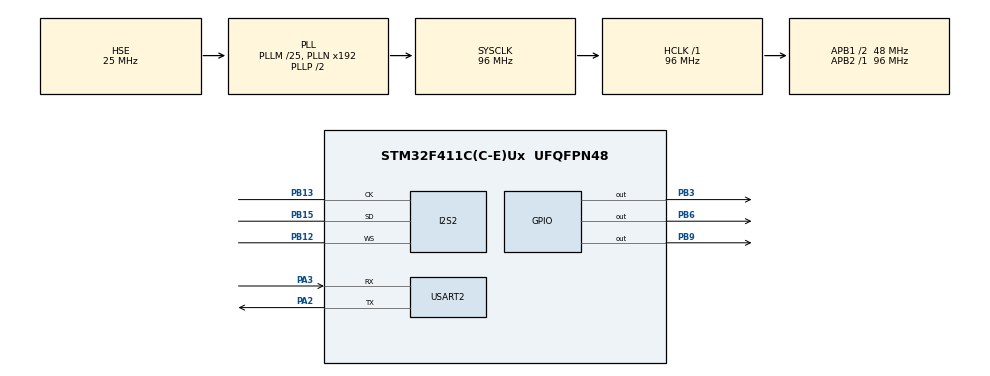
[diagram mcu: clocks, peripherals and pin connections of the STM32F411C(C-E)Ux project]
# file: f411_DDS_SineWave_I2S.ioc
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Dma.Request0=SPI2_TX
Dma.SPI2_TX.0.Direction=DMA_MEMORY_TO_PERIPH
Dma.SPI2_TX.0.FIFOMode=DMA_FIFOMODE_ENABLE
Dma.SPI2_TX.0.FIFOThreshold=DMA_FIFO_THRESHOLD_FULL
Dma.SPI2_TX.0.Instance=DMA1_Stream4
Dma.SPI2_TX.0.MemBurst=DMA_MBURST_SINGLE
Dma.SPI2_TX.0.MemDataAlignment=DMA_MDATAALIGN_HALFWORD
Dma.SPI2_TX.0.MemInc=DMA_MINC_ENABLE
Dma.SPI2_TX.0.Mode=DMA_CIRCULAR
Dma.SPI2_TX.0.PeriphBurst=DMA_PBURST_SINGLE
Dma.SPI2_TX.0.PeriphDataAlignment=DMA_PDATAALIGN_HALFWORD
Dma.SPI2_TX.0.PeriphInc=DMA_PINC_DISABLE
Dma.SPI2_TX.0.Priority=DMA_PRIORITY_LOW
I2S2.AudioFreq=I2S_AUDIOFREQ_48K
I2S2.DataFormat=I2S_DATAFORMAT_24B
I2S2.ErrorAudioFreq=0.8 %
I2S2.FullDuplexMode=I2S_FULLDUPLEXMODE_DISABLE
I2S2.Instance=SPI$Index
I2S2.RealAudioFreq=48.387 KHz
I2S2.VirtualMode=I2S_MODE_MASTER
Mcu.Family=STM32F4
Mcu.Name=STM32F411C(C-E)Ux
Mcu.Package=UFQFPN48
NVIC.DMA1_Stream4_IRQn=true\:0\:0\:false\:false\:true\:false\:true
NVIC.PriorityGroup=NVIC_PRIORITYGROUP_4
PA13.Mode=Serial_Wire
PA13.Signal=SYS_JTMS-SWDIO
PA14.Mode=Serial_Wire
PA14.Signal=SYS_JTCK-SWCLK
PA2.Mode=Asynchronous
PA2.Signal=USART2_TX
PA3.Mode=Asynchronous
PA3.Signal=USART2_RX
PB12.Mode=Half_Duplex_Master
PB12.Signal=I2S2_WS
PB13.Mode=Half_Duplex_Master
PB13.Signal=I2S2_CK
PB15.Mode=Half_Duplex_Master
PB15.Signal=I2S2_SD
PB3.PinState=GPIO_PIN_SET
PB3.Signal=GPIO_Output
PB6.PinState=GPIO_PIN_SET
PB6.Signal=GPIO_Output
PB9.Signal=GPIO_Output
PH0\ -\ OSC_IN.Mode=HSE-External-Oscillator
PH0\ -\ OSC_IN.Signal=RCC_OSC_IN
PH1\ -\ OSC_OUT.Mode=HSE-External-Oscillator
PH1\ -\ OSC_OUT.Signal=RCC_OSC_OUT
ProjectManager.HeapSize=0x200
ProjectManager.StackSize=0x400
ProjectManager.TargetToolchain=STM32CubeIDE
RCC.48MHZClocksFreq_Value=48000000
RCC.AHBFreq_Value=96000000
RCC.APB1CLKDivider=RCC_HCLK_DIV2
RCC.APB1Freq_Value=48000000
RCC.APB1TimFreq_Value=96000000
RCC.APB2Freq_Value=96000000
RCC.APB2TimFreq_Value=96000000
RCC.CortexFreq_Value=96000000
RCC.HCLKFreq_Value=96000000
RCC.HSE_VALUE=25000000
RCC.HSI_VALUE=16000000
RCC.LSE_VALUE=32768
RCC.PLLI2SM=25
RCC.PLLM=25
RCC.PLLSourceVirtual=RCC_PLLSOURCE_HSE
RCC.SYSCLKFreq_VALUE=96000000
RCC.SYSCLKSource=RCC_SYSCLKSOURCE_PLLCLK
RCC.VCOOutputFreq_Value=192000000
USART2.VirtualMode=VM_ASYNC
board=custom

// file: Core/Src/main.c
/* USER CODE BEGIN Header */
/**
  ******************************************************************************
  * @file           : main.c
  * @brief          : Main program body
  ******************************************************************************
  * @attention
  *
  * <h2><center>&copy; Copyright (c) 2021 STMicroelectronics.
  * All rights reserved.</center></h2>
  *
  * This software component is licensed by ST under BSD 3-Clause license,
  * the "License"; You may not use this file except in compliance with the
  * License. You may obtain a copy of the License at:
  *                        opensource.org/licenses/BSD-3-Clause
  *
  ******************************************************************************
  */
/* USER CODE END Header */
#include "main.h"

/* USER CODE BEGIN Includes */
#include <math.h>
#include <stdio.h>
#include <stdarg.h>
#include <string.h>
/* USER CODE END Includes */

I2S_HandleTypeDef hi2s2;
DMA_HandleTypeDef hdma_spi2_tx;

UART_HandleTypeDef huart2;

void SystemClock_Config(void);
static void MX_GPIO_Init(void);
static void MX_DMA_Init(void);
static void MX_I2S2_Init(void);
static void MX_USART2_UART_Init(void);

/* USER CODE BEGIN 0 */

///////////////////////////////////////////////////////////////////////////////
//
// Direct Digital Synthesis of I2S periodic waveform (24bit resolution @ Fs = 48KHz)
// Stereo L and R channels can have different frequencies
// In this example, the left channel generates a 440.0Hz (musical 'A' note) sine wave
// with a harmonic at 880Hz.
// The right channel generates a 440.5Hz note with harmonic at 881Hz.
// When both channels are played back through speakers or if you sum the channels
// before playback (MAX98357 default configuration), you will hear a beat note at
// 0.5Hz, demonstrating the resolution capability of DDS.
//
// User configurable inputs are :
// Fundamental frequency L channel = L_WAVE_FREQ_HZ
// Fundamental frequency R channel = R_WAVE_FREQ_HZ
// Fundamental amplitude = VOLUME
//
// Implemented on WeAct STM32F411CEU6 Black Pill dev board. Will also
// work with trivial mods on the cheaper STM32F401CCU6 Black Pill board.
//
// credits : https://github.com/dimtass/stm32f407_dds_dac,
//           https://www.youtube.com/watch?v=YDC5zaEZGhM
//           https://github.com/YetAnotherElectronicsChannel/STM32_PDM_Microphone

#define L_WAVE_FREQ_HZ 	    440.0f
#define R_WAVE_FREQ_HZ      440.5f
#define VOLUME              0.25f // Range [0.1 - 0.5]

//
///////////////////////////////////////////////////////////////////////////////

#define _2PI                6.283185307f
#define _PI                 3.14159265f

#define FS_HZ               48000.0f

#define WAVE_TABLE_SIZE     2048

// convert float to 24bit 2's complement
#define FLOAT_2_24BITS(fval)  	( (fval) * (((int32_t)1) << 23) )

// 24bit 2's complement sine wave table
int32_t WaveTable[WAVE_TABLE_SIZE + 1];	// +1 for interpolation

// 16.16 resolution fixed point format for phase increment and accumulator
#define FLOAT_2_FIXED16(fval)  	( (fval) * (((uint32_t)1) << 16) )

#define MAX_PHASE_ACCUM (((uint32_t)WAVE_TABLE_SIZE) << 16)

// stereo L and R channels with different frequencies
uint32_t LPhaseAccumulator = 0;
uint32_t LPhaseIncrement;

uint32_t RPhaseAccumulator = 0;
uint32_t RPhaseIncrement;

#define TXBUF_SIZE 	512
// TxBuf contains stereo L, R 24bit samples encoded in 32bits as
// two uint16_ts [16msb,8lsb:0]
// A stereo sample requires 4 uint16_ts, so TxBuf[512]
// contains 128 stereo 24bit samples
uint16_t TxBuf[TXBUF_SIZE];

enum DmaState {DMA_IN_PROGRESS, DMA_HALF_COMPLETE, DMA_COMPLETE};
enum DmaState TxState = DMA_IN_PROGRESS;

#define TOGGLE_RED_LED() HAL_GPIO_TogglePin(GPIOB, GPIO_PIN_3);
#define TOGGLE_GRN_LED() HAL_GPIO_TogglePin(GPIOB, GPIO_PIN_6);

#define BLU_LED_ON()  HAL_GPIO_WritePin(GPIOB, GPIO_PIN_9, GPIO_PIN_RESET);
#define BLU_LED_OFF()  HAL_GPIO_WritePin(GPIOB, GPIO_PIN_9, GPIO_PIN_SET);

void wave_table_init(void);
void dds_calculate(uint16_t* buffer, int num_samples);
void i2s_clock_config();
HAL_StatusTypeDef i2s_config_PR(uint32_t regVal);
void print_msg(char* format, ...);

// dma completion state

void HAL_I2S_TxHalfCpltCallback (I2S_HandleTypeDef *hi2s) {
	TxState = DMA_HALF_COMPLETE;
	}

void HAL_I2S_TxCpltCallback (I2S_HandleTypeDef *hi2s) {
	TxState = DMA_COMPLETE;
	}

void wave_table_init(void){
	// table[k] = sin(2*pi*k/N)
	for(int inx = 0; inx < WAVE_TABLE_SIZE; inx++) {
		// fundamental plus harmonic
		float wave = VOLUME * sinf(_2PI * ((float)inx/(float)WAVE_TABLE_SIZE) ) +
					(VOLUME/4) * sinf(_2PI * ((float)(2*inx)/(float)WAVE_TABLE_SIZE) );
		WaveTable[inx] = FLOAT_2_24BITS(wave);
		}
	// Used for interpolating when integer part of PhaseAccumulator == WAVE_TABLE_SIZE-1
	WaveTable[WAVE_TABLE_SIZE] = WaveTable[0];
	}

void dds_calculate(uint16_t* buffer, int numSamples) {
	// @ Fs = 48000Hz, it takes 64/48000 = 1.333mS to transmit 64 stereo samples
	// The DDS buffer generation needs to execute in less than this time.
	// Running at 96MHz the STM32F411CEU6 completes in 0.135mS with interpolation
	BLU_LED_OFF(); // check pulse strobe width on logic analyzer/scope for execution time
	uint32_t tableIndex,fractional,uwave24;
	int32_t v1,v2,swave24;
	for(int inx = 0; inx < numSamples; inx++) {
		// L channel
		LPhaseAccumulator += LPhaseIncrement;
		while (LPhaseAccumulator >= MAX_PHASE_ACCUM) LPhaseAccumulator -= MAX_PHASE_ACCUM;
		tableIndex = (LPhaseAccumulator >> 16); // integer portion of LPhaseAccumulator
		// swave24 = WaveTable[tableIndex]; // without interpolation
		// with interpolation
		v1 = WaveTable[tableIndex]; // nearest neighbours
		v2 = WaveTable[tableIndex+1];
		fractional = LPhaseAccumulator & 65535;
		swave24 = v1 + ((v2-v1)*(int32_t)fractional)/65536; // linear interpolation
		uwave24 =  (uint32_t) swave24;
		 // I2S data format : 24bit 2's complement left-justified in a 32bit frame
		buffer[4*inx]   = (uint16_t)((uwave24 >> 8) & 0x0000FFFF);
		buffer[4*inx+1] = (uint16_t)((uwave24 & 0x000000FF) << 8);

		// R channel
		RPhaseAccumulator += RPhaseIncrement;
		while (RPhaseAccumulator >= MAX_PHASE_ACCUM) RPhaseAccumulator -= MAX_PHASE_ACCUM;
		tableIndex = (RPhaseAccumulator >> 16); // integer portion of RPhaseAccumulator
		// swave24 = WaveTable[tableIndex]; // without interpolation
		// with interpolation
		v1 = WaveTable[tableIndex]; // nearest neighbours
		v2 = WaveTable[tableIndex+1];
		fractional = RPhaseAccumulator & 65535;
		swave24 = v1 + ((v2-v1)*(int32_t)fractional)/65536; // linear interpolation
		uwave24 =  (uint32_t) swave24;
		 // I2S data format : 24bit 2's complement left-justified in a 32bit frame
		buffer[4*inx+2] = (uint16_t)((uwave24 >> 8) & 0x0000FFFF);
		buffer[4*inx+3] = (uint16_t)((uwave24 & 0x000000FF) << 8);
		}
	BLU_LED_ON();
	}

/* USER CODE END 0 */

int main(void)
{

  /* MCU Configuration--------------------------------------------------------*/

  /* Reset of all peripherals, Initializes the Flash interface and the Systick. */
  HAL_Init();

  /* Configure the system clock */
  SystemClock_Config();

  /* Initialize all configured peripherals */
  MX_GPIO_Init();
  MX_DMA_Init();
  MX_I2S2_Init();
  MX_USART2_UART_Init();
  /* USER CODE BEGIN 2 */
  print_msg("\r\nDDS generation of 24-bit I2S stereo 1kHz sine wave @ Fs = 48kHz\r\n");
  // initialize periodic waveform table
  wave_table_init();
  // table increment for every generated sample in 16.16 fixed point resolution
  LPhaseIncrement = FLOAT_2_FIXED16(L_WAVE_FREQ_HZ * (float)WAVE_TABLE_SIZE / FS_HZ );
  RPhaseIncrement = FLOAT_2_FIXED16(R_WAVE_FREQ_HZ * (float)WAVE_TABLE_SIZE / FS_HZ );
  BLU_LED_ON(); // strobe used for monitoring execution time of DDS buffer recalculation

  // populate entire TxBuf
  dds_calculate(TxBuf, TXBUF_SIZE/4);

  // set i2s clock pll registers for 48kHz 24bit stream
  i2s_clock_config();

  // The I2S peripheral internally transfers data in 16bit chunks, so the source buffer needs
  // to be uint16_t.
  // When I2S2 is configured for 24bit data in 32bit frame, the HAL API for I2S tx/rx DMA
  // requires us to specify the number of uint32_t to be transferred, and then transfers twice that
  // number of uint16_ts (shrug)
  // Tx source is a circular buffer with 128 stereo 24bit samples.
  // We re-calculate 64 samples while the other 64 samples are being transmitted.
  HAL_I2S_Transmit_DMA(&hi2s2, TxBuf, TXBUF_SIZE/2);

  /* USER CODE END 2 */

  /* Infinite loop */
  /* USER CODE BEGIN WHILE */
  while (1)
  {
	    if (TxState == DMA_HALF_COMPLETE) {
			// DMA has transmitted the first half of TxBuf, we
			// can re-calculate it  while DMA transmits the second half
			// each half contains 64 stereo samples
			dds_calculate(&TxBuf[0], TXBUF_SIZE/8);
			TxState = DMA_IN_PROGRESS;
			TOGGLE_RED_LED();
			}

	    if (TxState == DMA_COMPLETE) {
			// DMA has transmitted the second half of TxBuf, we
			// can re-calculate it while DMA transmits the first half
			dds_calculate(&TxBuf[TXBUF_SIZE/2], TXBUF_SIZE/8);
			TxState = DMA_IN_PROGRESS;
			TOGGLE_GRN_LED();
			}

    /* USER CODE END WHILE */

  }
}

void SystemClock_Config(void)
{
  RCC_OscInitTypeDef RCC_OscInitStruct = {0};
  RCC_ClkInitTypeDef RCC_ClkInitStruct = {0};
  RCC_PeriphCLKInitTypeDef PeriphClkInitStruct = {0};

  /** Configure the main internal regulator output voltage
  */
  __HAL_RCC_PWR_CLK_ENABLE();
  __HAL_PWR_VOLTAGESCALING_CONFIG(PWR_REGULATOR_VOLTAGE_SCALE1);
  /** Initializes the RCC Oscillators according to the specified parameters
  * in the RCC_OscInitTypeDef structure.
  */
  RCC_OscInitStruct.OscillatorType = RCC_OSCILLATORTYPE_HSE;
  RCC_OscInitStruct.HSEState = RCC_HSE_ON;
  RCC_OscInitStruct.PLL.PLLState = RCC_PLL_ON;
  RCC_OscInitStruct.PLL.PLLSource = RCC_PLLSOURCE_HSE;
  RCC_OscInitStruct.PLL.PLLM = 25;
  RCC_OscInitStruct.PLL.PLLN = 192;
  RCC_OscInitStruct.PLL.PLLP = RCC_PLLP_DIV2;
  RCC_OscInitStruct.PLL.PLLQ = 4;
  if (HAL_RCC_OscConfig(&RCC_OscInitStruct) != HAL_OK)
  {
    Error_Handler();
  }
  /** Initializes the CPU, AHB and APB buses clocks
  */
  RCC_ClkInitStruct.ClockType = RCC_CLOCKTYPE_HCLK|RCC_CLOCKTYPE_SYSCLK
                              |RCC_CLOCKTYPE_PCLK1|RCC_CLOCKTYPE_PCLK2;
  RCC_ClkInitStruct.SYSCLKSource = RCC_SYSCLKSOURCE_PLLCLK;
  RCC_ClkInitStruct.AHBCLKDivider = RCC_SYSCLK_DIV1;
  RCC_ClkInitStruct.APB1CLKDivider = RCC_HCLK_DIV2;
  RCC_ClkInitStruct.APB2CLKDivider = RCC_HCLK_DIV1;

  if (HAL_RCC_ClockConfig(&RCC_ClkInitStruct, FLASH_LATENCY_3) != HAL_OK)
  {
    Error_Handler();
  }
  PeriphClkInitStruct.PeriphClockSelection = RCC_PERIPHCLK_I2S;
  PeriphClkInitStruct.PLLI2S.PLLI2SN = 192;
#ifdef  STM32F411xE
  PeriphClkInitStruct.PLLI2S.PLLI2SM = 25;
#endif
  PeriphClkInitStruct.PLLI2S.PLLI2SR = 2;
  if (HAL_RCCEx_PeriphCLKConfig(&PeriphClkInitStruct) != HAL_OK)
  {
    Error_Handler();
  }
}

static void MX_I2S2_Init(void)
{

  hi2s2.Instance = SPI2;
  hi2s2.Init.Mode = I2S_MODE_MASTER_TX;
  hi2s2.Init.Standard = I2S_STANDARD_PHILIPS;
  hi2s2.Init.DataFormat = I2S_DATAFORMAT_24B;
  hi2s2.Init.MCLKOutput = I2S_MCLKOUTPUT_DISABLE;
  hi2s2.Init.AudioFreq = I2S_AUDIOFREQ_48K;
  hi2s2.Init.CPOL = I2S_CPOL_LOW;
  hi2s2.Init.ClockSource = I2S_CLOCK_PLL;
  hi2s2.Init.FullDuplexMode = I2S_FULLDUPLEXMODE_DISABLE;
  if (HAL_I2S_Init(&hi2s2) != HAL_OK)
  {
    Error_Handler();
  }

}

static void MX_USART2_UART_Init(void)
{

  huart2.Instance = USART2;
  huart2.Init.BaudRate = 115200;
  huart2.Init.WordLength = UART_WORDLENGTH_8B;
  huart2.Init.StopBits = UART_STOPBITS_1;
  huart2.Init.Parity = UART_PARITY_NONE;
  huart2.Init.Mode = UART_MODE_TX_RX;
  huart2.Init.HwFlowCtl = UART_HWCONTROL_NONE;
  huart2.Init.OverSampling = UART_OVERSAMPLING_16;
  if (HAL_UART_Init(&huart2) != HAL_OK)
  {
    Error_Handler();
  }

}

static void MX_DMA_Init(void)
{

  /* DMA controller clock enable */
  __HAL_RCC_DMA1_CLK_ENABLE();

  /* DMA interrupt init */
  /* DMA1_Stream4_IRQn interrupt configuration */
  HAL_NVIC_SetPriority(DMA1_Stream4_IRQn, 0, 0);
  HAL_NVIC_EnableIRQ(DMA1_Stream4_IRQn);

}

static void MX_GPIO_Init(void)
{
  GPIO_InitTypeDef GPIO_InitStruct = {0};

  /* GPIO Ports Clock Enable */
  __HAL_RCC_GPIOH_CLK_ENABLE();
  __HAL_RCC_GPIOA_CLK_ENABLE();
  __HAL_RCC_GPIOB_CLK_ENABLE();

  /*Configure GPIO pin Output Level */
  HAL_GPIO_WritePin(GPIOB, GPIO_PIN_3|GPIO_PIN_6, GPIO_PIN_SET);

  /*Configure GPIO pin Output Level */
  HAL_GPIO_WritePin(GPIOB, GPIO_PIN_9, GPIO_PIN_RESET);

  /*Configure GPIO pins : PB3 PB6 PB9 */
  GPIO_InitStruct.Pin = GPIO_PIN_3|GPIO_PIN_6|GPIO_PIN_9;
  GPIO_InitStruct.Mode = GPIO_MODE_OUTPUT_PP;
  GPIO_InitStruct.Pull = GPIO_NOPULL;
  GPIO_InitStruct.Speed = GPIO_SPEED_FREQ_LOW;
  HAL_GPIO_Init(GPIOB, &GPIO_InitStruct);

}

/* USER CODE BEGIN 4 */

// I2S clock configuration for Fs = 48kHz, 24/32 Philips data format
// ref : Tech Ref Manual RM0383
void i2s_clock_config() {
	RCC_PeriphCLKInitTypeDef RCC_ExCLKInitStruct;
    uint32_t N, R, I2SDIV, ODD, MCKOE, I2S_PR;
#ifdef USE_MCLK_OUT
    MCKOE = 1;
#else
    MCKOE = 0;
#endif
    // PLLI2S_VCO = f(VCO clock) = f(PLLI2S clock input)  (PLLI2SN/PLLM)
    // I2SCLK = f(PLLI2S clock output) = f(VCO clock) / PLLI2SR

    HAL_RCCEx_GetPeriphCLKConfig(&RCC_ExCLKInitStruct);
    N = 384;
    R = 5;
    I2SDIV = 12;
    ODD = 1;

    RCC_ExCLKInitStruct.PeriphClockSelection = RCC_PERIPHCLK_I2S;
#ifdef STM32F411xE
    RCC_ExCLKInitStruct.PLLI2S.PLLI2SM = 25; // want 1Mhz clock at PLL input
#endif
    RCC_ExCLKInitStruct.PLLI2S.PLLI2SN = N;
    RCC_ExCLKInitStruct.PLLI2S.PLLI2SR = R;
    HAL_RCCEx_PeriphCLKConfig(&RCC_ExCLKInitStruct);
    I2S_PR = (MCKOE<<9) | (ODD<<8) | I2SDIV;
    i2s_config_PR(I2S_PR);
	}

HAL_StatusTypeDef i2s_config_PR(uint32_t regVal) {
	uint32_t tickstart = 0U;
    __HAL_RCC_PLLI2S_DISABLE();
    tickstart = HAL_GetTick();
    while(__HAL_RCC_GET_FLAG(RCC_FLAG_PLLI2SRDY)  != RESET) {
    	if((HAL_GetTick() - tickstart ) > PLLI2S_TIMEOUT_VALUE) {
    		return HAL_TIMEOUT;
         	 }
      	}

    SPI2->I2SPR = regVal;

    __HAL_RCC_PLLI2S_ENABLE();
    tickstart = HAL_GetTick();
    while(__HAL_RCC_GET_FLAG(RCC_FLAG_PLLI2SRDY)  == RESET)    {
    	if((HAL_GetTick() - tickstart ) > PLLI2S_TIMEOUT_VALUE)      {
    		return HAL_TIMEOUT;
    		}
    	}
   return HAL_OK;
   }

void print_msg(char* format, ...) {
	char sz[100];
	va_list args;
	va_start(args, format);
	vsprintf(sz, format, args);
	HAL_UART_Transmit(&huart2, (uint8_t *)sz, strlen(sz), HAL_MAX_DELAY);
	va_end(args);
	}

/* USER CODE END 4 */

void Error_Handler(void)
{
  __disable_irq();
  while (1)
  {
  }
}

/************************ (C) COPYRIGHT STMicroelectronics *****END OF FILE****/
